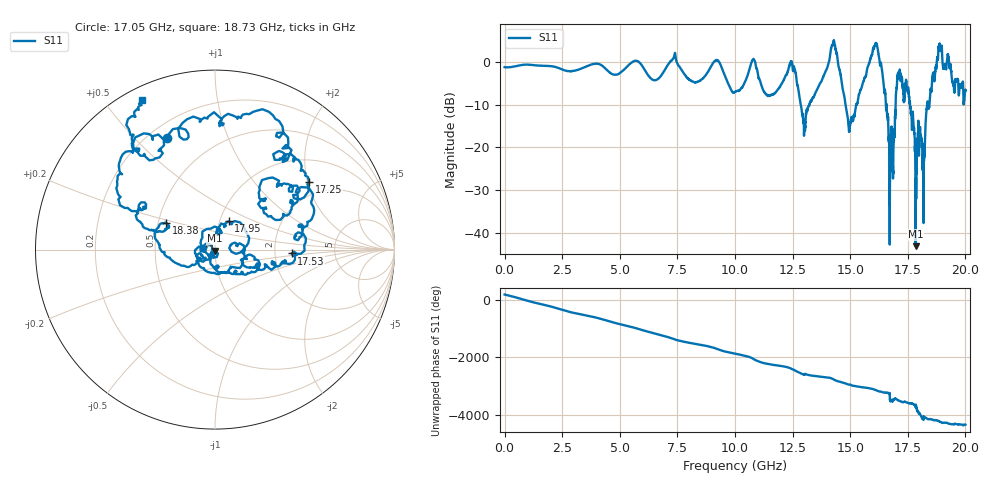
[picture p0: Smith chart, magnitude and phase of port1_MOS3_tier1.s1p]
! Created with skrf 1.8.0 (http://scikit-rf.org).
# GHz S RI R 50.0
!freq ReS11 ImS11
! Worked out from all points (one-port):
!   10001 points, 1 MHz to 20 GHz, reference 50 ohm
!   lowest |S11| = -43.2 dB at 17.84 GHz (marker M1), VSWR 1.01, Z = 49.9 - j0.68 ohm
!   |S11| at or under -10 dB: 14.8 GHz to 15.26 GHz (461.2 MHz wide, 3.07 % of centre); 16.57 GHz to 16.97 GHz (393.5 MHz wide, 2.35 % of centre); 17.6 GHz to 18.34 GHz (746.6 MHz wide, 4.16 % of centre) (the widest 3 of 6)
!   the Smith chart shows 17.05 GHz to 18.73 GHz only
!   S11 on the Smith chart (normalised r, x): 17.05 GHz: 0.27, +0.62; 17.25 GHz: 1.58, +2.05; 17.53 GHz: 2.48, -0.13; 17.95 GHz: 1.10, +0.36; 18.38 GHz: 0.55, +0.18; 18.73 GHz: 0.05, +0.62
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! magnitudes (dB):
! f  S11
! 1 MHz  -1.1
! 2.501 GHz  -1.7
! 5.001 GHz  -2.5
! 6.547 GHz  -4.2
! 7.501 GHz  -0.2
! 8.297 GHz  -4.7
! 9.239 GHz  0.6
! 10 GHz  -6.9
! 10.78 GHz  0.7
! 11.46 GHz  -7.7
! 12.5 GHz  -1.0
! 13.01 GHz  -15.8
! 14.29 GHz  5.1
! 15 GHz  -14.5
! 16.12 GHz  4.6
! 16.43 GHz  -4.0
! 16.79 GHz  -16.8
! 17.05 GHz  -3.4
! 17.25 GHz  -3.8
! 17.5 GHz  -6.9
! 17.53 GHz  -7.4
! 17.84 GHz  -43.2
! 17.95 GHz  -15.2
! 18.18 GHz  -35.3
! 18.38 GHz  -10.2
! 18.73 GHz  -0.6
! 18.9 GHz  2.9
! 20 GHz  -6.4
